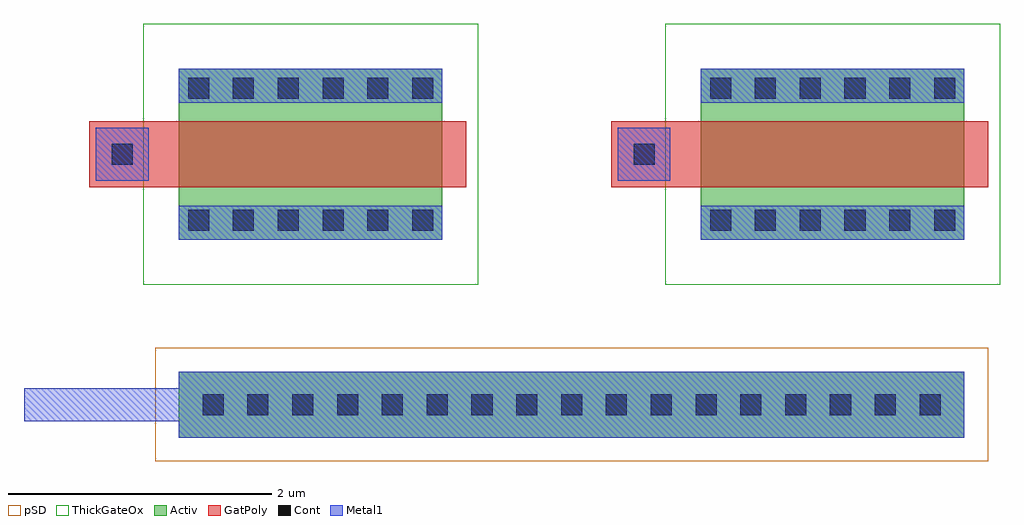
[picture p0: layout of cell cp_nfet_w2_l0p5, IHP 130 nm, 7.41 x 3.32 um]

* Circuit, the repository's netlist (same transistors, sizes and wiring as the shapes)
* extracted by klt extract --deck sg13cmos5l

* cell cp_nfet_w2_l0p5
* pin vsubs
.SUBCKT cp_nfet_w2_l0p5 vsubs
* device instance $1 r0 *1 2.3,3.11 nfet
X$1 \$3 \$1 \$4 vsubs sg13_hv_nmos L=0.5U W=2U AS=0.8P AD=0.8P PS=4.8U PD=4.8U
* device instance $2 r0 *1 6.26,3.11 nfet
X$2 \$5 \$2 \$6 vsubs sg13_hv_nmos L=0.5U W=2U AS=0.8P AD=0.8P PS=4.8U PD=4.8U
.ENDS cp_nfet_w2_l0p5

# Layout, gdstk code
import gdstk
lib = gdstk.Library(unit=1e-6, precision=1e-09)
def R(c, l, rs):  # rectangles x0, y0, x1, y1
    for r in rs: c.add(gdstk.rectangle(r[:2], r[2:], *l))
def A(c, l, x, y, w, h, nx, ny, dx, dy):  # array of equal rectangles
    R(c, l, [(x+i*dx, y+j*dy, x+i*dx+w, y+j*dy+h) for i in range(nx) for j in range(ny)])
Activ = (1, 0)
GatPoly = (5, 0)
Cont = (6, 0)
Metal1 = (8, 0)
pSD = (14, 0)
ThickGateOx = (44, 0)

cp_nfet_w2_l0p5 = lib.new_cell('cp_nfet_w2_l0p5')
R(cp_nfet_w2_l0p5, Activ, [(1.3,0.96,7.26,1.46), (1.3,2.46,3.3,3.76), (5.26,2.46,7.26,3.76)])
R(cp_nfet_w2_l0p5, GatPoly, [(0.62,2.86,1.12,3.36), (1.12,2.86,3.48,3.36), (4.58,2.86,5.08,3.36), (5.08,2.86,7.44,3.36)])
A(cp_nfet_w2_l0p5, Cont, 1.48, 1.13, 0.16, 0.16, 17, 1, 0.34, 0)
A(cp_nfet_w2_l0p5, Cont, 1.37, 2.53, 0.16, 0.16, 6, 2, 0.34, 1)
A(cp_nfet_w2_l0p5, Cont, 5.33, 2.53, 0.16, 0.16, 6, 2, 0.34, 1)
R(cp_nfet_w2_l0p5, Cont, [(0.79,3.03,0.95,3.19), (4.75,3.03,4.91,3.19)])
R(cp_nfet_w2_l0p5, Metal1, [(1.3,0.96,7.26,1.46), (0.125,1.085,1.3,1.335), (1.3,2.46,3.3,2.72), (5.26,2.46,7.26,2.72), (0.67,2.91,1.07,3.31), (4.63,2.91,5.03,3.31), (1.3,3.5,3.3,3.76), (5.26,3.5,7.26,3.76)])
R(cp_nfet_w2_l0p5, pSD, [(1.12,0.78,7.44,1.64)])
R(cp_nfet_w2_l0p5, ThickGateOx, [(1.03,2.12,3.57,4.1), (4.99,2.12,7.53,4.1)])

lib.write_gds('cp_nfet_w2_l0p5.gds')
